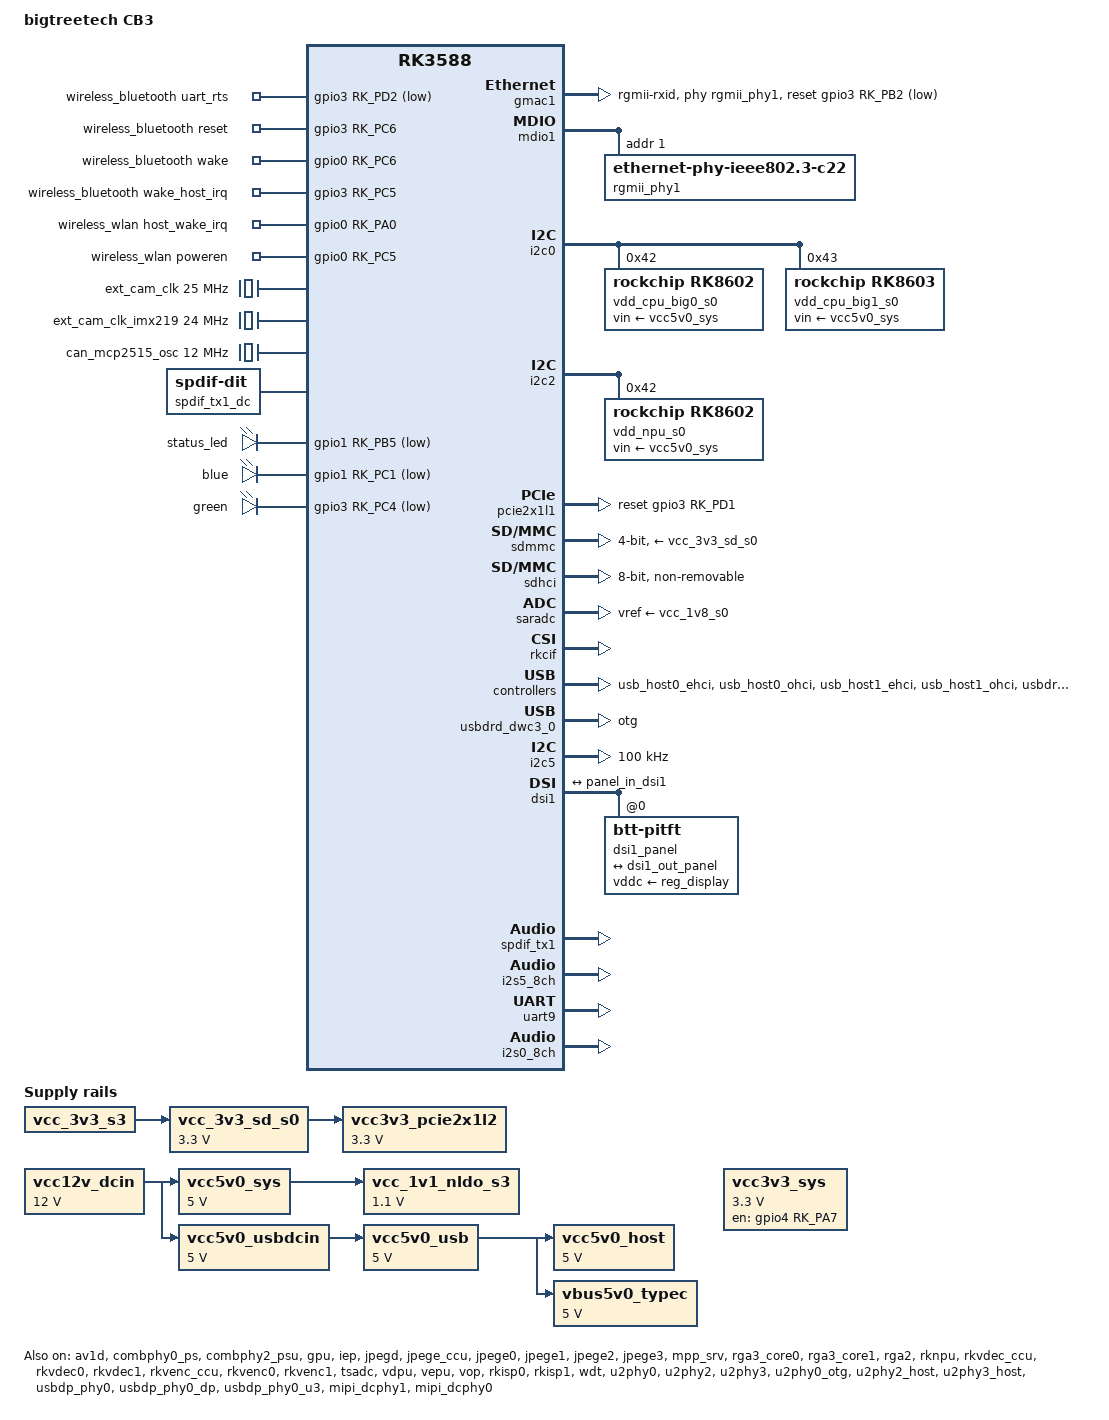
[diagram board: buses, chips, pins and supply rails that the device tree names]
// SPDX-License-Identifier: (GPL-2.0+ OR MIT)
/*
 * Copyright (c) 2021 Rockchip Electronics Co., Ltd.
 *
 */

/dts-v1/;

#include "dt-bindings/usb/pd.h"
#include "rk3588s.dtsi"
#include "rk3588-linux.dtsi"
#include "rk3588-rk806-single.dtsi"
#include "bigtreetech-csi-camera.dtsi"
#include <dt-bindings/gpio/gpio.h>
#include <dt-bindings/pwm/pwm.h>
#include <dt-bindings/pinctrl/rockchip.h>
#include <dt-bindings/input/rk-input.h>
#include <dt-bindings/display/drm_mipi_dsi.h>
#include <dt-bindings/display/rockchip_vop.h>
#include <dt-bindings/sensor-dev.h>

/ {
	model = "bigtreetech CB3";
	compatible = "rockchip,bigtreetech cb3", "rockchip,rk3588";

	/* If hdmirx node is disabled, delete the reserved-memory node here. */
	reserved-memory {
		#address-cells = <2>;
		#size-cells = <2>;
		ranges;

		/* Reserve 256MB memory for hdmirx-controller@fdee0000 */
		cma {
			compatible = "shared-dma-pool";
			reusable;
			reg = <0x0 (256 * 0x100000) 0x0 (256 * 0x100000)>;
			linux,cma-default;
		};
	};

	vcc12v_dcin: vcc12v-dcin {
		compatible = "regulator-fixed";
		regulator-name = "vcc12v_dcin";
		regulator-always-on;
		regulator-boot-on;
		regulator-min-microvolt = <12000000>;
		regulator-max-microvolt = <12000000>;
	};

	vcc5v0_sys: vcc5v0-sys {
		compatible = "regulator-fixed";
		regulator-name = "vcc5v0_sys";
		regulator-always-on;
		regulator-boot-on;
		regulator-min-microvolt = <5000000>;
		regulator-max-microvolt = <5000000>;
		vin-supply = <&vcc12v_dcin>;
	};
	
	vcc5v0_host: vcc5v0-host {
		compatible = "regulator-fixed";
		regulator-name = "vcc5v0_host";
		regulator-boot-on;
		regulator-always-on;
		regulator-min-microvolt = <5000000>;
		regulator-max-microvolt = <5000000>;
		enable-active-high;
		vin-supply = <&vcc5v0_usb>;
		pinctrl-names = "default";
	};
	
	vcc3v3_sys: vcc3v3-sys {
		compatible = "regulator-fixed";
		regulator-name = "vcc3v3_sys";
		regulator-min-microvolt = <3300000>;
		regulator-max-microvolt = <3300000>;
		regulator-boot-on;
		regulator-always-on;
		enable-active-high;
		gpios = <&gpio4 RK_PA7 GPIO_ACTIVE_HIGH>;
		startup-delay-us = <50000>;
	};

	vcc_1v1_nldo_s3: vcc-1v1-nldo-s3 {
		compatible = "regulator-fixed";
		regulator-name = "vcc_1v1_nldo_s3";
		regulator-always-on;
		regulator-boot-on;
		regulator-min-microvolt = <1100000>;
		regulator-max-microvolt = <1100000>;
		vin-supply = <&vcc5v0_sys>;
	};

	vcc_3v3_sd_s0: vcc-3v3-sd-s0 {
		compatible = "regulator-fixed";
		regulator-name = "vcc_3v3_sd_s0";
		regulator-min-microvolt = <3300000>;
		regulator-max-microvolt = <3300000>;
		enable-active-low;
		vin-supply = <&vcc_3v3_s3>;
		regulator-state-mem {
			regulator-off-in-suspend;
		};
	};

	vcc3v3_pcie2x1l2: vcc3v3-pcie2x1l2 {
		compatible = "regulator-fixed";
		regulator-name = "vcc3v3_pcie2x1l2";
		regulator-min-microvolt = <3300000>;
		regulator-max-microvolt = <3300000>;
		enable-active-high;
		regulator-boot-on;
		regulator-always-on;
		startup-delay-us = <50000>;
		vin-supply = <&vcc_3v3_sd_s0>;
	};

	vcc5v0_usbdcin: vcc5v0-usbdcin {
		compatible = "regulator-fixed";
		regulator-name = "vcc5v0_usbdcin";
		regulator-always-on;
		regulator-boot-on;
		regulator-min-microvolt = <5000000>;
		regulator-max-microvolt = <5000000>;
		vin-supply = <&vcc12v_dcin>;
	};

	vcc5v0_usb: vcc5v0-usb {
		compatible = "regulator-fixed";
		regulator-name = "vcc5v0_usb";
		regulator-always-on;
		regulator-boot-on;
		regulator-min-microvolt = <5000000>;
		regulator-max-microvolt = <5000000>;
		vin-supply = <&vcc5v0_usbdcin>;
	};

	vbus5v0_typec: vbus5v0-typec {
		compatible = "regulator-fixed";
		regulator-name = "vbus5v0_typec";
		regulator-min-microvolt = <5000000>;
		regulator-max-microvolt = <5000000>;
		enable-active-high;
		vin-supply = <&vcc5v0_usb>;
		pinctrl-names = "default";
	};

	wireless_bluetooth: wireless-bluetooth {
		compatible = "bluetooth-platdata";
		clocks = <&bt_clk>;
		clock-names = "ext_clock";
		uart_rts_gpios = <&gpio3 RK_PD2 GPIO_ACTIVE_LOW>;
		pinctrl-names = "default", "rts_gpio";
		pinctrl-0 = <&uart9m2_rtsn>, <&bt_gpio>;
		pinctrl-1 = <&uart9_gpios>;
		BT,reset_gpio    = <&gpio3 RK_PC6 GPIO_ACTIVE_HIGH>;
		BT,wake_gpio     = <&gpio0 RK_PC6 GPIO_ACTIVE_HIGH>;
		BT,wake_host_irq = <&gpio3 RK_PC5 GPIO_ACTIVE_HIGH>;
		status = "okay";
	};

	wireless_wlan: wireless-wlan {
		compatible = "wlan-platdata";
		wifi_chip_type = "ap6275p";
		pinctrl-names = "default";
		pinctrl-0 = <&wifi_host_wake_irq>, <&wifi_poweren_gpio>;
		WIFI,host_wake_irq = <&gpio0 RK_PA0 GPIO_ACTIVE_HIGH>;
		WIFI,poweren_gpio = <&gpio0 RK_PC5 GPIO_ACTIVE_HIGH>;
		status = "okay";
	};
	
	ext_cam_clk: ext-cam-clk {
		status = "okay";
		compatible = "fixed-clock";
		clock-frequency = <25000000>;
		clock-output-names = "ext_cam_clk";
		#clock-cells = <0>;
	};
	
	ext_cam_clk_imx219: ext-cam-clk-imx219 {
		status = "okay";
		compatible = "fixed-clock";
		clock-frequency = <24000000>;
		clock-output-names = "ext_cam_clk_imx219";
		#clock-cells = <0>;
	};
	
	can_mcp2515_osc: can-mcp2515-osc {
		compatible = "fixed-clock";
		clock-frequency = <12000000>;
		#clock-cells = <0>;
	};
	
	bt_clk: bt-clk{
		compatible = "fixed-clock";
		#clock-cells = <0>;
		clock-frequency = <32768>;
		clock-output-names = "btclk";
		wakeup-source;
	};
	
	hdmi0_sound: hdmi0-sound {
		status = "disabled";
		compatible = "rockchip,hdmi";
		rockchip,mclk-fs = <128>;
		rockchip,card-name = "rockchip-hdmi0";
		rockchip,cpu = <&i2s5_8ch>;
		rockchip,codec = <&hdmi0>;
		rockchip,jack-det;
	};
	
	spdif_tx1_dc: spdif-tx1-dc {
		status = "disabled";
		compatible = "linux,spdif-dit";
		#sound-dai-cells = <0>;
	};

	spdif_tx1_sound: spdif-tx1-sound {
		status = "disabled";
		compatible = "simple-audio-card";
		simple-audio-card,name = "rockchip,spdif-tx1";
		simple-audio-card,cpu {
			sound-dai = <&spdif_tx1>;
		};
		simple-audio-card,codec {
			sound-dai = <&spdif_tx1_dc>;
		};
	};
	
	leds: gpio-leds {
		compatible = "gpio-leds";
		pinctrl-names = "default";
		pinctrl-0 =<&leds_gpio>;
		status = "okay";

		pwr@1 {
			gpios = <&gpio1 RK_PB5 GPIO_ACTIVE_LOW>;
			label = "status_led";
			default-state = "on";
		};
		
		blue@0 {
			gpios = <&gpio1 RK_PC1 GPIO_ACTIVE_LOW>;
			label = "blue";
			default-state = "on";
		};

		green@1 {
			gpios = <&gpio3 RK_PC4 GPIO_ACTIVE_LOW>;
			label = "green";
			linux,default-trigger = "heartbeat";
			linux,default-trigger-delay-ms = <0>;
		};

	};
	
	bt-sound {
		status = "okay";
		compatible = "simple-audio-card";
		simple-audio-card,format = "dsp_a";
		simple-audio-card,bitclock-inversion;
		simple-audio-card,mclk-fs = <256>;
		simple-audio-card,name = "rockchip,bt";
		simple-audio-card,cpu {
			sound-dai = <&i2s0_8ch>;
		};

		simple-audio-card,codec {
			sound-dai = <&bt_sco 1>;
		};
	};

	bt_sco: bt-sco {
		compatible = "delta,dfbmcs320";
		#sound-dai-cells = <1>;
		status = "okay";
	};
	
	gpio-keys {
		compatible = "gpio-keys";
		status = "disabled";
		#address-cells = <1>;
		#size-cells = <0>;
		autorepeat;
		
		pinctrl-names = "default";
		pinctrl-0 = <&pwrbtn>;

		button@0 {
			gpios = <&gpio1 RK_PA2 GPIO_ACTIVE_LOW>;
			linux,code = <KEY_POWER>;
			label = "GPIO Key Power";
			linux,input-type = <1>;
			gpio-key,wakeup = <1>;
			debounce-interval = <50>;
		};
	};
		
};

&av1d {
	status = "okay";
};

&av1d_mmu {
	status = "okay";
};


&cpu_l0 {
	cpu-supply = <&vdd_cpu_lit_s0>;
	mem-supply = <&vdd_cpu_lit_mem_s0>;
};

&cpu_b0 {
	cpu-supply = <&vdd_cpu_big0_s0>;
	mem-supply = <&vdd_cpu_big0_mem_s0>;
};

&cpu_b2 {
	cpu-supply = <&vdd_cpu_big1_s0>;
	mem-supply = <&vdd_cpu_big1_mem_s0>;
};

&combphy0_ps {
	status = "okay";
};

&combphy2_psu {
	status = "okay";
};

&dp0 {
	status = "okay";
};

&dp0_in_vp2 {
	status = "okay";
};

&gpu {
	mali-supply = <&vdd_gpu_s0>;
	mem-supply = <&vdd_gpu_mem_s0>;
	status = "okay";
};

&gmac1 {
	/* Use rgmii-rxid mode to disable rx delay inside Soc */
	phy-mode = "rgmii-rxid";
	clock_in_out = "output";

	snps,reset-gpio = <&gpio3 RK_PB2 GPIO_ACTIVE_LOW>;
	snps,reset-active-low;
	/* Reset time is 20ms, 100ms for rtl8211f */
	snps,reset-delays-us = <0 20000 100000>;

	pinctrl-names = "default";
	pinctrl-0 = <&gmac1_miim
	             &gmac1_tx_bus2
	             &gmac1_rx_bus2
	             &gmac1_rgmii_clk
	             &gmac1_rgmii_bus>;

	tx_delay = <0x42>;
	/* rx_delay = <0x3f>; */

	phy-handle = <&rgmii_phy1>;
	status = "okay";
};

&mdio1 {
	rgmii_phy1: phy@1 {
		compatible = "ethernet-phy-ieee802.3-c22";
		reg = <0x1>;
	};
};

&i2c0 {
	status = "okay";
	pinctrl-names = "default";
	pinctrl-0 = <&i2c0m2_xfer>;

	vdd_cpu_big0_s0: vdd_cpu_big0_mem_s0: rk8602@42 {
		compatible = "rockchip,rk8602";
		reg = <0x42>;
		vin-supply = <&vcc5v0_sys>;
		regulator-compatible = "rk860x-reg";
		regulator-name = "vdd_cpu_big0_s0";
		regulator-min-microvolt = <550000>;
		regulator-max-microvolt = <1050000>;
		regulator-ramp-delay = <2300>;
		rockchip,suspend-voltage-selector = <1>;
		regulator-boot-on;
		regulator-always-on;
		regulator-state-mem {
			regulator-off-in-suspend;
		};
	};

	vdd_cpu_big1_s0: vdd_cpu_big1_mem_s0: rk8603@43 {
		compatible = "rockchip,rk8603";
		reg = <0x43>;
		vin-supply = <&vcc5v0_sys>;
		regulator-compatible = "rk860x-reg";
		regulator-name = "vdd_cpu_big1_s0";
		regulator-min-microvolt = <550000>;
		regulator-max-microvolt = <1050000>;
		regulator-ramp-delay = <2300>;
		rockchip,suspend-voltage-selector = <1>;
		regulator-boot-on;
		regulator-always-on;
		regulator-state-mem {
			regulator-off-in-suspend;
		};
	};
};



&i2c2 {
	status = "okay";

	vdd_npu_s0: vdd_npu_mem_s0: rk8602@42 {
		compatible = "rockchip,rk8602";
		reg = <0x42>;
		vin-supply = <&vcc5v0_sys>;
		regulator-compatible = "rk860x-reg";
		regulator-name = "vdd_npu_s0";
		regulator-min-microvolt = <550000>;
		regulator-max-microvolt = <950000>;
		regulator-ramp-delay = <2300>;
		rockchip,suspend-voltage-selector = <1>;
		regulator-boot-on;
		regulator-always-on;
		regulator-state-mem {
			regulator-off-in-suspend;
		};
	};
};

&pcie2x1l1 {
	reset-gpios = <&gpio3 RK_PD1 GPIO_ACTIVE_HIGH>;
	rockchip,skip-scan-in-resume;
	status = "okay";
};

&pinctrl {

//	usb {
//		vcc5v0_host_en: vcc5v0-host-en {
//			rockchip,pins = <0 RK_PD3 RK_FUNC_GPIO &pcfg_pull_none>;
//		};
//	};

//	wireless-bluetooth {
//		uart9_gpios: uart9-gpios {
//			rockchip,pins = <3 RK_PD2 RK_FUNC_GPIO &pcfg_pull_none>;
//		};
//
//		bt_gpio: bt-gpio {
//			rockchip,pins =
//				<3 RK_PC6 RK_FUNC_GPIO &pcfg_pull_none>,
//				<3 RK_PC5 RK_FUNC_GPIO &pcfg_pull_none>,
//				<0 RK_PC6 RK_FUNC_GPIO &pcfg_pull_none>;
//			
//		};	
//			
//	};

	wireless-bluetooth {
		uart9_gpios: uart9-gpios {
			rockchip,pins = <3 RK_PD2 RK_FUNC_GPIO &pcfg_pull_none>;
		};
	
		bt_gpio: bt-gpio {
			rockchip,pins =
				<3 RK_PC6 RK_FUNC_GPIO &pcfg_pull_none>,
				<3 RK_PC5 RK_FUNC_GPIO &pcfg_pull_none>,
				<0 RK_PC6 RK_FUNC_GPIO &pcfg_pull_none>;
		};
	};

	wireless-wlan {
		wifi_host_wake_irq: wifi-host-wake-irq {
			rockchip,pins = <0 RK_PA0 RK_FUNC_GPIO &pcfg_pull_down>;
		};

		wifi_poweren_gpio: wifi-poweren-gpio {
			rockchip,pins = <0 RK_PC5 RK_FUNC_GPIO &pcfg_pull_up>;
		};
	};
	
	mcp2515_int_pin {
		mcp2515_int_pin: mcp2515_int_pin {
			rockchip,pins = <4 RK_PA7 RK_FUNC_GPIO &pcfg_pull_up>;
		};
	};
	
	gpio-func {
		leds_gpio: leds-gpio {
			rockchip,pins =
				<1 RK_PB5 RK_FUNC_GPIO &pcfg_pull_up>,
				<1 RK_PC1 RK_FUNC_GPIO &pcfg_pull_up>,
				<3 RK_PC4 RK_FUNC_GPIO &pcfg_pull_up>;
		};
	};
	
	buttons {
		pwrbtn: pwrbtn {
			rockchip,pins = <1 RK_PA2 RK_FUNC_GPIO &pcfg_pull_up>; //
		};
	};
};

&sdmmc {
	max-frequency = <150000000>;
	no-sdio;
	no-mmc;
	bus-width = <4>;
	cap-mmc-highspeed;
	cap-sd-highspeed;
	disable-wp;
	sd-uhs-sdr104;
	vmmc-supply = <&vcc_3v3_sd_s0>;
	vqmmc-supply = <&vccio_sd_s0>;
	status = "okay";
};

&sdhci {
	bus-width = <8>;
	no-sdio;
	no-sd;
	non-removable;
	max-frequency = <200000000>;
	mmc-hs400-1_8v;
	mmc-hs400-enhanced-strobe;
	status = "okay";
};

&av1d_mmu {
	status = "okay";
};

&gpu {
	mali-supply = <&vdd_gpu_s0>;
	mem-supply = <&vdd_gpu_mem_s0>;
	status = "okay";
};

&iep {
	status = "okay";
};

&iep_mmu {
	status = "okay";
};

&jpegd {
	status = "okay";
};

&jpegd_mmu {
	status = "okay";
};

&jpege_ccu {
	status = "okay";
};

&jpege0 {
	status = "okay";
};

&jpege0_mmu {
	status = "okay";
};

&jpege1 {
	status = "okay";
};

&jpege1_mmu {
	status = "okay";
};

&jpege2 {
	status = "okay";
};

&jpege2_mmu {
	status = "okay";
};

&jpege3 {
	status = "okay";
};

&jpege3_mmu {
	status = "okay";
};

&mpp_srv {
	status = "okay";
};

&rga3_core0 {
	status = "okay";
};

&rga3_0_mmu {
	status = "okay";
};

&rga3_core1 {
	status = "okay";
};

&rga3_1_mmu {
	status = "okay";
};

&rga2 {
	status = "okay";
};

&rknpu {
	rknpu-supply = <&vdd_npu_s0>;
	mem-supply = <&vdd_npu_mem_s0>;
	status = "okay";
};

&rknpu_mmu {
	status = "okay";
};

&rkvdec_ccu {
	status = "okay";
};

&rkvdec0 {
	status = "okay";
};

&rkvdec0_mmu {
	status = "okay";
};

&rkvdec1 {
	status = "okay";
};

&rkvdec1_mmu {
	status = "okay";
};

&rkvenc_ccu {
	status = "okay";
};

&rkvenc0 {
	status = "okay";
};

&rkvenc0_mmu {
	status = "okay";
};

&rkvenc1 {
	status = "okay";
};

&rkvenc1_mmu {
	status = "okay";
};

&rockchip_suspend {
	status = "okay";
	rockchip,sleep-debug-en = <1>;
};

&saradc {
	status = "okay";
	vref-supply = <&vcc_1v8_s0>;
};

&tsadc {
	status = "okay";
};

&vdpu {
	status = "okay";
};

&vdpu_mmu {
	status = "okay";
};

&vepu {
	status = "okay";
};

&vop {
	status = "okay";
	disable-win-move;
	assigned-clocks = <&cru ACLK_VOP>;
	assigned-clock-rates = <800000000>;
};

&vop_mmu {
	status = "okay";
};

/* vp0 & vp1 splice for 8K output */
&vp0 {
	cursor-win-id=<ROCKCHIP_VOP2_ESMART0>;
	rockchip,plane-mask = <(1 << ROCKCHIP_VOP2_CLUSTER0 | 1 << ROCKCHIP_VOP2_ESMART0)>;
	rockchip,primary-plane = <ROCKCHIP_VOP2_ESMART0>;
	rockchip,primary-plane = <ROCKCHIP_VOP2_CLUSTER0>;
};

&vp1 {
	cursor-win-id=<ROCKCHIP_VOP2_ESMART1>;
	rockchip,plane-mask = <(1 << ROCKCHIP_VOP2_CLUSTER1 | 1 << ROCKCHIP_VOP2_ESMART1)>;
	rockchip,primary-plane = <ROCKCHIP_VOP2_ESMART1>;
	rockchip,primary-plane = <ROCKCHIP_VOP2_CLUSTER1>;
};

&vp2 {
	cursor-win-id=<ROCKCHIP_VOP2_ESMART2>;
	rockchip,plane-mask = <(1 << ROCKCHIP_VOP2_CLUSTER2 | 1 << ROCKCHIP_VOP2_ESMART2)>;
	rockchip,primary-plane = <ROCKCHIP_VOP2_ESMART2>;
	rockchip,primary-plane = <ROCKCHIP_VOP2_CLUSTER2>;
};

&vp3 {
	cursor-win-id=<ROCKCHIP_VOP2_ESMART3>;
	rockchip,plane-mask = <(1 << ROCKCHIP_VOP2_CLUSTER3 | 1 << ROCKCHIP_VOP2_ESMART3)>;
	rockchip,primary-plane = <ROCKCHIP_VOP2_ESMART3>;
	rockchip,primary-plane = <ROCKCHIP_VOP2_CLUSTER3>;
};

&cpu_l0 {
	cpu-supply = <&vdd_cpu_lit_s0>;
	mem-supply = <&vdd_cpu_lit_mem_s0>;
};

&cpu_b0 {
	cpu-supply = <&vdd_cpu_big0_s0>;
	mem-supply = <&vdd_cpu_big0_mem_s0>;
};

&cpu_b2 {
	cpu-supply = <&vdd_cpu_big1_s0>;
	mem-supply = <&vdd_cpu_big1_mem_s0>;
};

&combphy0_ps {
	status = "okay";
};

&combphy2_psu {
	status = "okay";
};

&rkcif {
	status = "okay";
};

&rkcif_mmu {
	status = "okay";
};

&rkisp0 {
	status = "okay";
};

&isp0_mmu {
	status = "okay";
};

&rkisp1 {
	status = "okay";
};

&isp1_mmu {
	status = "okay";
};

/* watchdog */
&wdt {
	status = "okay";
};

&tsadc {
	status = "okay";
};

&u2phy0 {
	status = "okay";
};

&u2phy2 {
	status = "okay";
};

&u2phy3 {
	status = "okay";
};

&u2phy0_otg {
	phy-supply = <&vcc5v0_host>;
	status = "okay";
};

&u2phy2_host {
	phy-supply = <&vcc5v0_host>;
	status = "okay";
};

&u2phy3_host {
	phy-supply = <&vcc5v0_host>;
	status = "okay";
};

&usb_host0_ehci {
	status = "okay";
};

&usb_host0_ohci {
	status = "okay";
};

&usb_host1_ehci {
	status = "okay";
};

&usb_host1_ohci {
	status = "okay";
};

&usb_host1_ohci {
        status = "okay";
};

&usbdp_phy0 {
        status = "okay";
        rockchip,dp-lane-mux = <2 3>;
};

&usbdp_phy0_dp {
        status = "okay";
};

&usbdp_phy0_u3 {
        status = "okay";
};

&usbdrd3_0 {
	status = "okay";
};

&usbhost3_0 {
	status = "disabled";
};

&usbdrd_dwc3_0 {
        status = "okay";
        dr_mode = "otg";
        extcon = <&u2phy0>;
};

&spi0 {
	status = "disabled";
	assigned-clocks = <&cru CLK_SPI0>;
	assigned-clock-rates = <10000000>;
	pinctrl-names = "default";
	pinctrl-0 = <&spi0m2_pins>;	
	cs-gpios =<&gpio4 RK_PA4 GPIO_ACTIVE_LOW>,        
			<&gpio0 RK_PD4 GPIO_ACTIVE_LOW>,
			<&gpio4 RK_PA2 GPIO_ACTIVE_LOW>;
	can_mcp2515: can-mcp2515@0 {
		status = "disabled";
		compatible = "microchip,mcp2515";
		reg = <0>;
		interrupt-parent = <&gpio4>;
		interrupts = <RK_PA7 IRQ_TYPE_LEVEL_LOW>;
		spi-max-frequency = <10000000>;
		clocks = <&can_mcp2515_osc>;
		vdd-supply = <&vcc3v3_sys>;
		xceiver-supply = <&vcc3v3_sys>;
		pinctrl-names = "default";
		pinctrl-0 = <&mcp2515_int_pin>;
	};

	tft_35: st7789v@1 {
		status = "disabled";
		compatible = "sitronix,st7796s"; 
		reg = <1>;
		spi-max-frequency =<12500000>;
		fps =<60>;
		buswidth = <8>;
		rotate =<0>;
		width = <480>;
		height = <320>;
		bpp = <24>;
		bgr;
		regwidth = <8>;
		debug = <0x00>;	 //0x20 show fps
		txbuflen = <8192>;
		spi-cpol;
		spi-cpha;
		dc-gpios  = <&gpio3 RK_PC0 GPIO_ACTIVE_HIGH>;
	};
	
	spi_dev:spi-dev@1{
		compatible = "spidev";
		status = "disabled";
		spi-max-frequency=<10000000>;
		reg= <1>;
		spi-cpol;
		spi-cs-high;
	};
	
	tft_nv3041a: nv3041a@1 {
		status = "disabled";
		compatible = "NV3041A";  
		reg = <1>;
		spi-max-frequency =<12500000>;
		fps =<60>;
		buswidth = <8>;
		rotate =<0>;
		width = <480>;
		height = <272>;
		bpp = <24>;		
		regwidth = <8>;
		debug = <0x00>;	 
		txbuflen = <8192>;
		spi-cpol;
		spi-cpha;
		//rgb;
		bgr;
		dc-gpios  = <&gpio3 RK_PC0 GPIO_ACTIVE_HIGH>;
	};
	
};

&i2c3{
	status ="disabled";  //"okay";
	pinctrl-names = "default";
  	pinctrl-0 = <&i2c3m2_xfer>;
	tft_tp: ns2009@48 {
		compatible = "ti,tsc2007";
		status = "disabled";
		reg = <0x48>;
		ti,x-plate-ohms = <660>;
		ti,rt-thr = <3000>;
		ti,fuzzx = <32>;
		ti,fuzzy = <16>;
		i2c,ignore-nak = <1>;
	};
	
	tft_5406:ft5x06_ts@38 { /*触屏地址0x38*/
		compatible = "rockpi_ft5406", "ft5x06";
		reg = <0x38>;
		touchscreen-size-x = < 800 >;
		touchscreen-size-y = < 480 >;
		status = "disabled";
	};	
};

&i2c5 {
	status = "okay"; //"disabled";
	pinctrl-names = "default";
	clock-frequency = <100000>;
	pinctrl-0 = <&i2c5m3_xfer>;
	#address-cells = <1>;
	#size-cells = <0>;
	reg_display:backlight@45{ /*背光地址0x45*/
		compatible = "raspberrypi,7inch-touchscreen-panel-regulator";
		reg = <0x45>;
		status = "disabled";
    };
	
	ft5x06:ft5x06_ts@38 { 
		compatible = "rockpi_ft5406", "ft5x06";
		reg = <0x38>;
		touchscreen-size-x = < 800 >;
		touchscreen-size-y = < 480 >;
		status = "disabled";     
	};	
};

&mipi_dcphy1 {
	status = "okay"; 
};

&combphy0_ps {
	status = "okay"; 
};

&combphy2_psu {
	status = "okay"; //"okay"; "disabled"; 影响pcie
};

&mipi_dcphy0 {
	status = "okay"; 
};

&dsi1 {
	status = "okay"; 
	#address-cells = <1>;
	#size-cells = <0>;

	dsi1_panel: panel@0 {
		status = "okay"; //"disable";
		compatible = "btt-pitft";
		reg = <0x0>;
		vddc-supply = <&reg_display>;
		#address-cells = <1>;
		#size-cells = <0>;		

		ports {
			#address-cells = <1>;
			#size-cells = <0>;

			port@0 {
				reg = <0>;
				panel_in_dsi1: endpoint {
					remote-endpoint = <&dsi1_out_panel>;
				};
			};
		};
	};

	ports {
		#address-cells = <1>;
		#size-cells = <0>;

		port@1 {
			reg = <1>;
			dsi1_out_panel: endpoint {
				remote-endpoint = <&panel_in_dsi1>;
			};
		};
	};
};


//#hdmi0
&dsi1_in_vp2 {
	status = "disabled";
};

&hdmi0 {
	status = "disabled";
};

&hdptxphy_hdmi0 {
	status = "disabled";
};

&route_hdmi0 {
	status = "disabled";
};

&dp0 {
	status = "disabled";	
};

&dp0_in_vp1 {
	status = "disabled";
};

&dp0_in_vp2 {
	status = "disabled";
};

&spdif_tx2 {
	status = "disabled";
};

&vp3_out_dsi0 {
	status = "disabled";
};

&vp3_out_rgb {
	status = "disabled";
};

&mipi_dcphy1 {
	status = "okay";
};

&hdmi0_in_vp0 {
	status = "disabled";
};

&hdmi0_in_vp2 {
	status = "disabled";
};

&vp2_out_dp0 {
	status = "disabled";
};

&vp2_out_edp0 {
	status = "disabled";
};

&vp2_out_dsi0 {
	status = "disabled";
};

&vp2_out_dsi1 {
	status = "disabled";
};

&spdif_tx1_dc {
	status = "okay";
};

&spdif_tx1_sound {
	status = "okay";
};

&spdif_tx1 {
	status = "okay";
};

&hdmi0_sound {
	status = "okay";
};

&hdptxphy_hdmi0 {
	status = "okay";
};

&i2s5_8ch {
	status = "okay";
};

&uart9 {
	status = "okay";
	pinctrl-names = "default";
	pinctrl-0 = <&uart9m2_xfer &uart9m2_ctsn>;
};

&bt_sco {
	status = "okay";
};

&i2s0_8ch {
	#sound-dai-cells = <0>;
	status = "okay";
};



